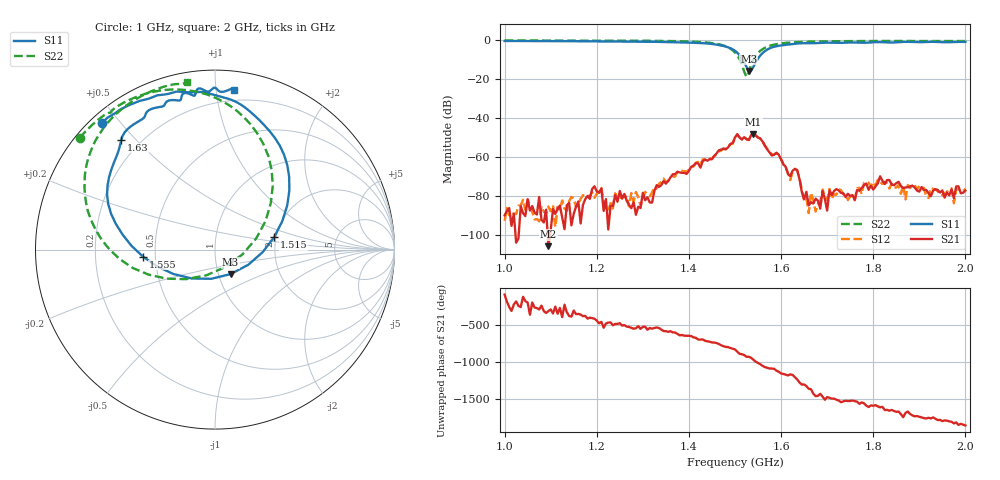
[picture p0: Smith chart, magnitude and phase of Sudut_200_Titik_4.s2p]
# Hz S RI R 50
! CMT, C1220, 16058040, 17.2.0/1
! Date: 14/08/2018 12:31:43
! Data: Format (Calibration Info)
! Freq  S11: Re/Im (F2)  S21: Re/Im (F2)  S12: Re/Im (F2)  S22: Re/Im (F2)
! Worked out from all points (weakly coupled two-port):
!   201 points, 1 GHz to 2 GHz, reference 50 ohm
!   highest |S21| = -48.21 dB at 1.54 GHz (marker M1); lowest = -105.9 dB at 1.095 GHz (marker M2)
!   lowest |S11| = -15.8 dB at 1.53 GHz (marker M3), VSWR 1.39, Z = 57.1 - j16 ohm
!   |S11| at or under -10 dB: 1.516 GHz to 1.549 GHz (32.26 MHz wide, 2.11 % of centre)
!   |S22| runs from -18.9 to -0.2 dB; largest |S21 - S12| = 0.00021
!   S11 on the Smith chart (normalised r, x): 1 GHz: 0.03, +0.45; 1.515 GHz: 1.95, +0.31; 1.555 GHz: 0.43, -0.04; 1.63 GHz: 0.13, +0.46; 2 GHz: 0.12, +1.12
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1e9  -0.6319 0.7072  -3.67e-06 -3.1e-05  -2.03e-05 9.95e-06  -0.7535 0.6237
1.095e9  -0.5377 0.7745  3.81e-06 3.34e-06  1.18e-05 5.12e-05  -0.685 0.6942
1.17e9  -0.4553 0.8145  5.24e-05 -2.51e-05  9.71e-05 -3.38e-05  -0.6174 0.749
1.195e9  -0.4174 0.8294  8.52e-05 -0.000153  4.71e-05 -7.56e-05  -0.5885 0.7621
1.315e9  -0.2181 0.8796  -6.68e-05 5.63e-06  -9.52e-05 -1.65e-05  -0.4398 0.8502
1.335e9  -0.1907 0.8788  -0.000168 1.65e-05  -0.0002 2.79e-05  -0.402 0.8635
1.45e9  0.1934 0.7706  0.000824 -0.000279  0.000876 -0.000303  0.0195 0.8378
1.5e9  0.4142 0.3298  -0.00121 -0.00291  -0.00118 -0.00277  0.3219 0.3549
1.515e9  0.3298 0.0696  -0.00279 -0.000178  -0.00277 -0.000204  0.2284 0.0602
1.53e9  0.087 -0.1365  -0.00237 0.00134  -0.00234 0.00131  -0.0493 -0.1437
1.54e9  -0.1291 -0.161  -0.00133 0.00365  -0.00129 0.00358  -0.2716 -0.1617
1.555e9  -0.402 -0.0385  0.00194 0.00222  0.00182 0.00233  -0.5299 -0.0538
1.62e9  -0.5318 0.5698  2.27e-05 -0.000315  3.23e-05 -0.000251  -0.7093 0.4973
1.63e9  -0.5221 0.6128  -0.000279 -0.000406  -0.000221 -0.000427  -0.6943 0.5429
1.65e9  -0.4723 0.684  -6.23e-05 5.34e-05  -7.22e-05 1.67e-05  -0.661 0.616
1.67e9  -0.4049 0.7274  6.12e-05 1.49e-05  6.05e-05 4.56e-05  -0.6259 0.6712
1.775e9  -0.205 0.8309  -3.28e-05 -0.000153  -4.23e-05 -0.000101  -0.4621 0.8252
1.78e9  -0.1964 0.8311  -7.64e-05 -0.000171  -8.71e-05 -0.000197  -0.4546 0.8297
1.81e9  -0.1731 0.8714  -0.00019 -8.84e-05  -0.000189 -0.000177  -0.4126 0.8545
1.835e9  -0.1209 0.858  -0.000212 0.000138  -0.000153 -3.92e-06  -0.3789 0.8713
1.925e9  -0.00463 0.9022  7.03e-05 6.68e-05  0.000117 0.00011  -0.2542 0.9156
2e9  0.107 0.8909  8.57e-05 -0.000105  0.000111 -0.000103  -0.1558 0.9315
